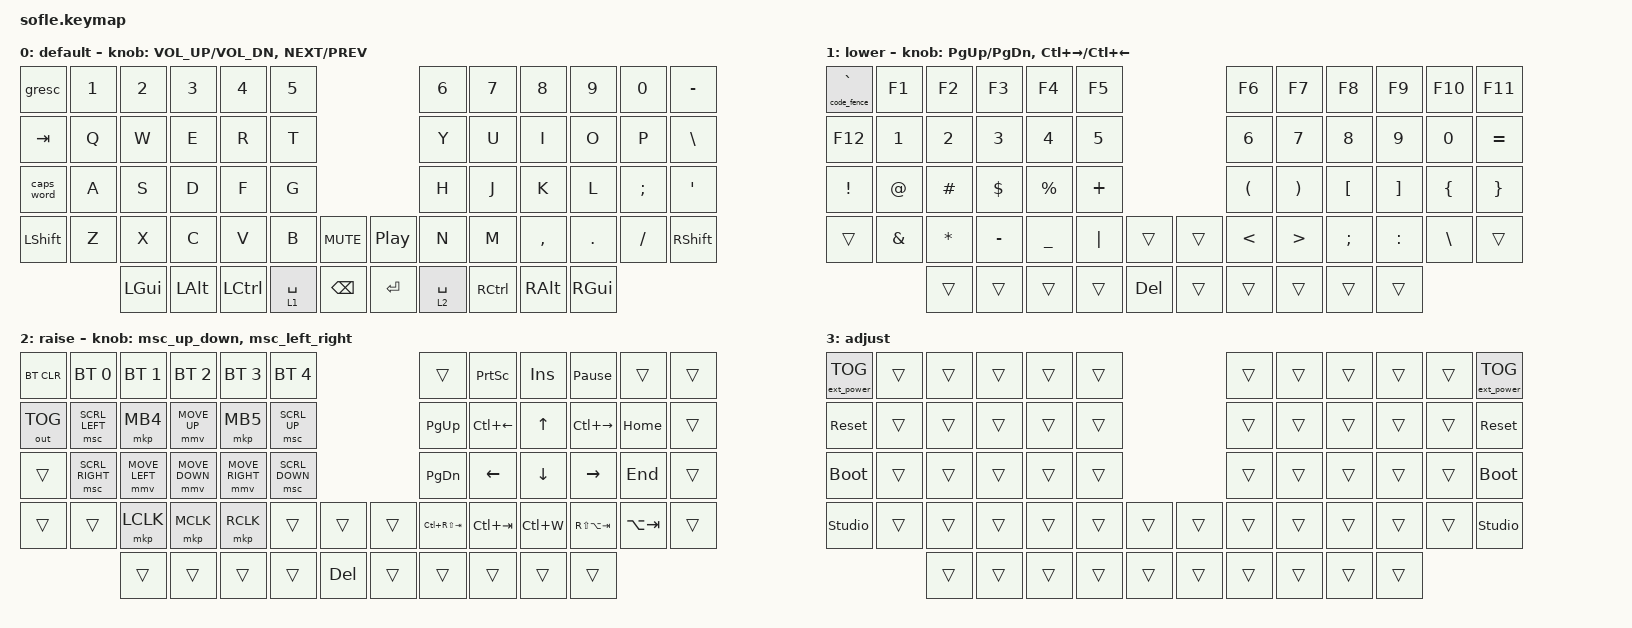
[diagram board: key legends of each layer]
/*
 * Copyright (c) 2020 The ZMK Contributors
 *
 * SPDX-License-Identifier: MIT
 */

#include <behaviors.dtsi>
#include <dt-bindings/zmk/bt.h>
#include <dt-bindings/zmk/ext_power.h>
#include <dt-bindings/zmk/keys.h>
#include <dt-bindings/zmk/outputs.h>
#include <dt-bindings/zmk/pointing.h>

#define BASE   0
#define LOWER  1
#define RAISE  2
#define ADJUST 3

// caps_word override must be a root-level node reference (outside / { })
// Extend continue-list: survive UNDERSCORE, MINUS, BACKSPACE, DELETE
// without dropping out of caps-word mode.

&caps_word { continue-list = <UNDERSCORE MINUS BACKSPACE DELETE>; };

/ {
    // Activate ADJUST layer when LOWER + RAISE are both active

    conditional_layers {
        compatible = "zmk,conditional-layers";

        adjust_layer {
            if-layers = <1 2>;
            then-layer = <3>;
        };
    };

    combos {
        compatible = "zmk,combos";

        combo_fat_arrow {
            bindings = <&fat_arrow>;
            key-positions = <31 32>;
            timeout-ms = <50>;
            layers = <1>;
        };

        combo_thin_arrow {
            bindings = <&thin_arrow>;
            key-positions = <32 33>;
            timeout-ms = <50>;
            layers = <1>;
        };

        combo_equals {
            bindings = <&equals>;
            key-positions = <19 20>;
            timeout-ms = <50>;
            layers = <1>;
        };

        combo_not_equals {
            bindings = <&not_equals>;
            key-positions = <20 21>;
            timeout-ms = <50>;
            layers = <1>;
        };

        combo_logical_or {
            bindings = <&logical_or>;
            key-positions = <46 47>;
            timeout-ms = <50>;
            layers = <1>;
        };

        combo_logical_and {
            bindings = <&logical_and>;
            key-positions = <45 46>;
            timeout-ms = <50>;
            layers = <1>;
        };

        // Programming shortcuts use regular key switches only; encoder presses are intentionally unused.

        combo_block_comment_open {
            bindings = <&block_comment_open>;
            key-positions = <25 26>;
            timeout-ms = <50>;
            layers = <1>;
        };

        combo_block_comment_close {
            bindings = <&block_comment_close>;
            key-positions = <26 27>;
            timeout-ms = <50>;
            layers = <1>;
        };

        combo_optional_chain {
            bindings = <&optional_chain>;
            key-positions = <27 28>;
            timeout-ms = <50>;
            layers = <1>;
        };

        combo_increment {
            bindings = <&increment>;
            key-positions = <28 29>;
            timeout-ms = <50>;
            layers = <1>;
        };

        combo_decrement {
            bindings = <&decrement>;
            key-positions = <37 38>;
            timeout-ms = <50>;
            layers = <1>;
        };

        combo_less_equal {
            bindings = <&less_equal>;
            key-positions = <38 39>;
            timeout-ms = <50>;
            layers = <1>;
        };

        combo_greater_equal {
            bindings = <&greater_equal>;
            key-positions = <39 40>;
            timeout-ms = <50>;
            layers = <1>;
        };

        combo_null_coalesce {
            bindings = <&null_coalesce>;
            key-positions = <40 41>;
            timeout-ms = <50>;
            layers = <1>;
        };

        combo_null_coalesce_assign {
            bindings = <&null_coalesce_assign>;
            key-positions = <47 48>;
            timeout-ms = <50>;
            layers = <1>;
        };
    };

    behaviors {
        fat_arrow: fat_arrow {
            compatible = "zmk,behavior-macro";
            #binding-cells = <0>;
            wait-ms = <10>;
            tap-ms = <10>;
            bindings = <&macro_tap>, <&kp EQUAL>, <&macro_tap>, <&kp LS(DOT)>;
        };

        thin_arrow: thin_arrow {
            compatible = "zmk,behavior-macro";
            #binding-cells = <0>;
            wait-ms = <10>;
            tap-ms = <10>;
            bindings = <&macro_tap>, <&kp MINUS>, <&macro_tap>, <&kp LS(DOT)>;
        };

        equals: equals {
            compatible = "zmk,behavior-macro";
            #binding-cells = <0>;
            wait-ms = <10>;
            tap-ms = <10>;
            bindings = <&macro_tap>, <&kp EQUAL>, <&macro_tap>, <&kp EQUAL>;
        };

        not_equals: not_equals {
            compatible = "zmk,behavior-macro";
            #binding-cells = <0>;
            wait-ms = <10>;
            tap-ms = <10>;
            bindings = <&macro_tap>, <&kp EXCL>, <&macro_tap>, <&kp EQUAL>;
        };

        logical_or: logical_or {
            compatible = "zmk,behavior-macro";
            #binding-cells = <0>;
            wait-ms = <10>;
            tap-ms = <10>;
            bindings = <&macro_tap>, <&kp PIPE>, <&macro_tap>, <&kp PIPE>;
        };

        logical_and: logical_and {
            compatible = "zmk,behavior-macro";
            #binding-cells = <0>;
            wait-ms = <10>;
            tap-ms = <10>;
            bindings = <&macro_tap>, <&kp AMPS>, <&macro_tap>, <&kp AMPS>;
        };

        block_comment_open: block_comment_open {
            compatible = "zmk,behavior-macro";
            #binding-cells = <0>;
            wait-ms = <10>;
            tap-ms = <10>;
            bindings = <&macro_tap>, <&kp FSLH>, <&macro_tap>, <&kp ASTRK>;
        };

        block_comment_close: block_comment_close {
            compatible = "zmk,behavior-macro";
            #binding-cells = <0>;
            wait-ms = <10>;
            tap-ms = <10>;
            bindings = <&macro_tap>, <&kp ASTRK>, <&macro_tap>, <&kp FSLH>;
        };

        optional_chain: optional_chain {
            compatible = "zmk,behavior-macro";
            #binding-cells = <0>;
            wait-ms = <10>;
            tap-ms = <10>;
            bindings = <&macro_tap>, <&kp LS(SLASH)>, <&macro_tap>, <&kp DOT>;
        };

        increment: increment {
            compatible = "zmk,behavior-macro";
            #binding-cells = <0>;
            wait-ms = <10>;
            tap-ms = <10>;
            bindings = <&macro_tap>, <&kp PLUS>, <&macro_tap>, <&kp PLUS>;
        };

        decrement: decrement {
            compatible = "zmk,behavior-macro";
            #binding-cells = <0>;
            wait-ms = <10>;
            tap-ms = <10>;
            bindings = <&macro_tap>, <&kp MINUS>, <&macro_tap>, <&kp MINUS>;
        };

        less_equal: less_equal {
            compatible = "zmk,behavior-macro";
            #binding-cells = <0>;
            wait-ms = <10>;
            tap-ms = <10>;
            bindings = <&macro_tap>, <&kp LT>, <&macro_tap>, <&kp EQUAL>;
        };

        greater_equal: greater_equal {
            compatible = "zmk,behavior-macro";
            #binding-cells = <0>;
            wait-ms = <10>;
            tap-ms = <10>;
            bindings = <&macro_tap>, <&kp GT>, <&macro_tap>, <&kp EQUAL>;
        };

        null_coalesce: null_coalesce {
            compatible = "zmk,behavior-macro";
            #binding-cells = <0>;
            wait-ms = <10>;
            tap-ms = <10>;
            bindings =
                <&macro_tap>,
                <&kp LS(SLASH)>,
                <&macro_tap>,
                <&kp LS(SLASH)>;
        };

        null_coalesce_assign: null_coalesce_assign {
            compatible = "zmk,behavior-macro";
            #binding-cells = <0>;
            wait-ms = <10>;
            tap-ms = <10>;
            bindings =
                <&macro_tap>,
                <&kp LS(SLASH)>,
                <&macro_tap>,
                <&kp LS(SLASH)>,
                <&macro_tap>,
                <&kp EQUAL>;
        };

        // code_fence: types ```<newline><newline>``` then Up arrow
        // so cursor lands on the blank line inside the fence.

        code_fence: code_fence {
            compatible = "zmk,behavior-macro";
            #binding-cells = <0>;
            wait-ms = <20>;
            tap-ms = <20>;
            bindings =
                <&macro_tap>,
                <&kp GRAVE &kp GRAVE &kp GRAVE>,
                <&macro_tap>,
                <&kp RET>,
                <&macro_tap>,
                <&kp RET>,
                <&macro_tap>,
                <&kp GRAVE &kp GRAVE &kp GRAVE>,
                <&macro_tap>,
                <&kp UP>;
        };

        // btick_code: tap=` | hold=code_fence  (used on LOWER layer only)

        btick_code: btick_code {
            compatible = "zmk,behavior-hold-tap";
            #binding-cells = <2>;
            flavor = "tap-preferred";
            tapping-term-ms = <200>;
            quick-tap-ms = <150>;
            bindings = <&code_fence>, <&kp>;
        };

        // Encoder mouse scroll behaviors

        msc_up_down: msc_up_down {
            compatible = "zmk,behavior-sensor-rotate";
            #sensor-binding-cells = <0>;
            bindings = <&msc SCRL_UP>, <&msc SCRL_DOWN>;
        };

        msc_left_right: msc_left_right {
            compatible = "zmk,behavior-sensor-rotate";
            #sensor-binding-cells = <0>;
            bindings = <&msc SCRL_RIGHT>, <&msc SCRL_LEFT>;
        };
    };

    macros {
    };

    keymap {
        compatible = "zmk,keymap";

        default_layer {
            display-name = "default";

            // ------------------------------------------------------------------------------------------------------------
            // |  gresc |  1   |  2   |  3    |  4    |  5    |                   |  6    |  7    |  8    |  9    |   0   |  -/_  |
            // |  TAB   |  Q   |  W   |  E    |  R    |  T    |                   |  Y    |  U    |  I    |  O    |   P   |   \   |
            // |CAPS_WRD|  A   |  S   |  D    |  F    |  G    |                   |  H    |  J    |  K    |  L    |   ;   |   '   |
            // | SHIFT  |  Z   |  X   |  C    |  V    |  B    |  MUTE  |  | PLAY  |  N    |  M    |  ,    |  .    |   /   | SHIFT |
            //                 | GUI  |  ALT  | CTRL  | LOWER |  BSPC  |  |  RET  |RSE/SPC| RCTRL | RALT  | RGUI  |

            bindings = <
&gresc      &kp N1  &kp N2    &kp N3    &kp N4     &kp N5                                  &kp N6       &kp N7     &kp N8     &kp N9    &kp N0    &kp MINUS
&kp TAB     &kp Q   &kp W     &kp E     &kp R      &kp T                                   &kp Y        &kp U      &kp I      &kp O     &kp P     &kp BACKSLASH
&caps_word  &kp A   &kp S     &kp D     &kp F      &kp G                                   &kp H        &kp J      &kp K      &kp L     &kp SEMI  &kp SQT
&kp LSHFT   &kp Z   &kp X     &kp C     &kp V      &kp B        &kp C_MUTE       &kp C_PP  &kp N        &kp M      &kp COMMA  &kp DOT   &kp FSLH  &kp RSHFT
                    &kp LGUI  &kp LALT  &kp LCTRL  &lt 1 SPACE  &kp BACKSPACE    &kp RET   &lt 2 SPACE  &kp RCTRL  &kp RALT   &kp RGUI
            >;

            sensor-bindings =
                <&inc_dec_kp C_VOL_UP C_VOL_DN>,
                <&inc_dec_kp C_NEXT C_PREV>;
        };

        lower_layer {
            display-name = "lower";

            // Caret remains available as Shift+6. The two encoder switches are disabled.
            // ------------------------------------------------------------------------------------------------------------
            // | `/```  |  F1  |  F2  |  F3   |  F4   |  F5   |                   |  F6   |  F7   |  F8   |  F9   |  F10  |  F11  |
            // | F12    |  1   |  2   |  3    |  4    |  5    |                   |  6    |  7    |  8    |  9    |   0   |  =    |
            // |   !    |  @   |  #   |  $    |  %    |  +    |                   |  (    |  )    |  [    |  ]    |   {   |  }    |
            // |        |  &   |  *   |  -    |  _    |  |    |  NONE  |  | NONE  |  <    |  >    |  ;    |   :   |  \   |       |
            //                 |      |       |       |       |        |  |       |       |       |       |       |

            bindings = <
&btick_code 0 GRAVE  &kp F1    &kp F2     &kp F3     &kp F4          &kp F5                       &kp F6    &kp F7    &kp F8    &kp F9     &kp F10   &kp F11
&kp F12              &kp N1    &kp N2     &kp N3     &kp N4          &kp N5                       &kp N6    &kp N7    &kp N8    &kp N9     &kp N0    &kp EQUAL
&kp EXCL             &kp AT    &kp HASH   &kp DLLR   &kp PRCNT       &kp PLUS                     &kp LPAR  &kp RPAR  &kp LBKT  &kp RBKT   &kp LBRC  &kp RBRC
&trans               &kp AMPS  &kp ASTRK  &kp MINUS  &kp UNDERSCORE  &kp PIPE  &trans     &trans  &kp LT    &kp GT    &kp SEMI  &kp COLON  &kp BSLH  &trans
                               &trans     &trans     &trans          &trans    &kp DEL    &trans  &trans    &trans    &trans    &trans
            >;

            sensor-bindings =
                <&inc_dec_kp PG_UP PG_DN>,
                <&inc_dec_kp LC(RIGHT_ARROW) LC(LEFT_ARROW)>;
        };

        raise_layer {
            display-name = "raise";

            // ------------------------------------------------------------------------------------------------------------
            // | BTCLR  | BT1  | BT2  |  BT3  |  BT4  |  BT5  |                   |       | PSCR  |  INS  | P_BRK | W_DEL |  DEL  |
            // | OUT_TOG|      | MB4  | M_UP  | MB5   |SCRL_UP|                   | PG_UP | W_LFT |   UP  | W_RGT | HOME  |       |
            // |        |      |M_LEFT| M_DOWN|M_RIGHT|SCRL_DN|                   | PG_DN |  LEFT |  DOWN | RIGHT |  END  |       |
            // |        |      | LCLK |  MCLK |  RCLK |       |        |  |       |       |       |       |       |       |       |
            //                 |      |       |       |       |        |  |       |       |       |       |       |

            bindings = <
&bt BT_CLR    &bt BT_SEL 0     &bt BT_SEL 1    &bt BT_SEL 2    &bt BT_SEL 3     &bt BT_SEL 4                       &trans           &kp PRINTSCREEN     &kp INS    &kp PAUSE_BREAK      &trans       &trans
&out OUT_TOG  &msc SCRL_LEFT   &mkp MB4        &mmv MOVE_UP    &mkp MB5         &msc SCRL_UP                       &kp PG_UP        &kp LC(LEFT_ARROW)  &kp UP     &kp LC(RIGHT_ARROW)  &kp HOME     &trans
&trans        &msc SCRL_RIGHT  &mmv MOVE_LEFT  &mmv MOVE_DOWN  &mmv MOVE_RIGHT  &msc SCRL_DOWN                     &kp PG_DN        &kp LEFT            &kp DOWN   &kp RIGHT            &kp END      &trans
&trans        &trans           &mkp LCLK       &mkp MCLK       &mkp RCLK        &trans          &trans     &trans  &kp LC(RS(TAB))  &kp LC(TAB)         &kp LC(W)  &kp RS(LA(TAB))      &kp LA(TAB)  &trans
                               &trans          &trans          &trans           &trans          &kp DEL    &trans  &trans           &trans              &trans     &trans
            >;

            sensor-bindings = <&msc_up_down>, <&msc_left_right>;
        };

        adjust_layer {
            display-name = "adjust";

            // ------------------------------------------------------------------------------------------------------------
            // | EP_TOG |      |      |       |       |       |                   |       |       |       |       |       |       |
            // | RESET  |      |      |       |       |       |                   |       |       |       |       |       |       |
            // | BOOTLDR|      |      |       |       |       |                   |       |       |       |       |       |       |
            // | STUDIO |      |      |       |       |       |        |  |       |       |       |       |       |       |       |
            //                 |      |       |       |       |        |  |       |       |       |       |       |       |

            bindings = <
&ext_power EP_TOG  &trans  &trans  &trans  &trans  &trans                    &trans  &trans  &trans  &trans  &trans  &ext_power EP_TOG
&sys_reset         &trans  &trans  &trans  &trans  &trans                    &trans  &trans  &trans  &trans  &trans  &sys_reset
&bootloader        &trans  &trans  &trans  &trans  &trans                    &trans  &trans  &trans  &trans  &trans  &bootloader
&studio_unlock     &trans  &trans  &trans  &trans  &trans  &trans    &trans  &trans  &trans  &trans  &trans  &trans  &studio_unlock
                           &trans  &trans  &trans  &trans  &trans    &trans  &trans  &trans  &trans  &trans
            >;
        };

        layer_4 {
            status = "reserved";
            bindings = <
&trans  &trans  &trans  &trans  &trans  &trans                    &trans  &trans  &trans  &trans  &trans  &trans
&trans  &trans  &trans  &trans  &trans  &trans                    &trans  &trans  &trans  &trans  &trans  &trans
&trans  &trans  &trans  &trans  &trans  &trans                    &trans  &trans  &trans  &trans  &trans  &trans
&trans  &trans  &trans  &trans  &trans  &trans  &trans    &trans  &trans  &trans  &trans  &trans  &trans  &trans
                &trans  &trans  &trans  &trans  &trans    &trans  &trans  &trans  &trans  &trans
            >;
        };
    };
};
